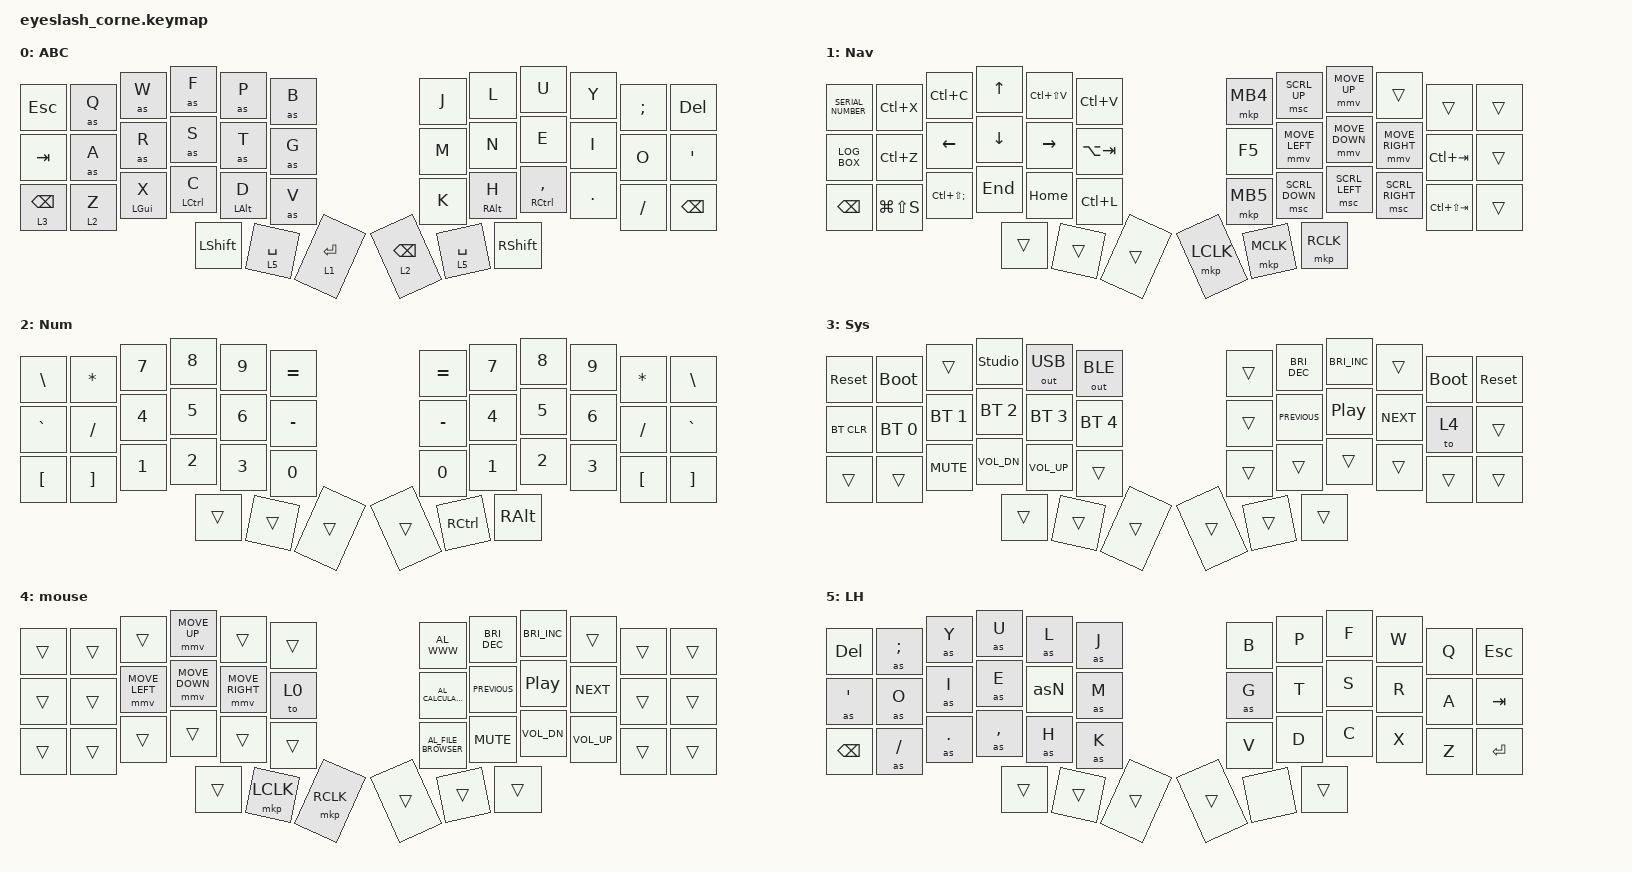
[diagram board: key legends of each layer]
/*
 * Copyright (c) 2020 The ZMK Contributors
 *
 * SPDX-License-Identifier: MIT
 */

#define ZMK_MOUSE_DEFAULT_MOVE_VAL 2250
#define U_MOUSE_MOVE_EXPONENT 3
#define U_MOUSE_MOVE_TIME 650
#define U_MOUSE_MOVE_DELAY 0

#include <behaviors.dtsi>
#include <dt-bindings/zmk/bt.h>
#include <dt-bindings/zmk/keys.h>
#include <dt-bindings/zmk/pointing.h>
#include <dt-bindings/zmk/outputs.h>

&mt {
    flavor = "tap-preferred";
    tapping-term-ms = <200>;
};

/ {
    combos {
        compatible = "zmk,combos";

        combo_1 {
            timeout-ms = <50>;
            key-positions = <1 13>;
            layers = <0>;
            bindings = <&kp N1>;
        };

        combo_2 {
            timeout-ms = <50>;
            key-positions = <2 14>;
            layers = <0>;
            bindings = <&kp N2>;
        };

        combo_3 {
            timeout-ms = <50>;
            key-positions = <3 15>;
            layers = <0>;
            bindings = <&kp N3>;
        };

        combo_4 {
            bindings = <&kp NUMBER_4>;
            key-positions = <4 16>;
            layers = <0>;
        };

        combo_5 {
            bindings = <&kp N5>;
            key-positions = <5 17>;
            layers = <0>;
        };

        combo_6 {
            bindings = <&kp NUMBER_6>;
            key-positions = <6 18>;
            layers = <0>;
        };

        combo_7 {
            bindings = <&kp N7>;
            key-positions = <7 19>;
            layers = <0>;
        };

        combo_8 {
            bindings = <&kp N8>;
            key-positions = <20 8>;
            layers = <0>;
        };

        combo_9 {
            bindings = <&kp N9>;
            key-positions = <21 9>;
            layers = <0>;
        };

        combo_0 {
            bindings = <&kp N0>;
            key-positions = <22 10>;
            layers = <0>;
        };

        //OH_1 {
        //    bindings = <&kp NUMBER_1>;
        //    key-positions = <10 22>;
        //    layers = <5>;
        //};

        //OH_2 {
        //    bindings = <&kp NUMBER_2>;
        //    key-positions = <9 21>;
        //    layers = <5>;
        //};

        //OH_3 {
        //    bindings = <&kp NUMBER_3>;
        //    key-positions = <8 20>;
        //    layers = <5>;
        //};

        //OH_4 {
        //    bindings = <&kp NUMBER_4>;
        //    key-positions = <7 19>;
        //    layers = <5>;
        //};

        //OH_5 {
        //    bindings = <&kp N5>;
        //    key-positions = <6 18>;
        //    layers = <5>;
        //};

        OH_6 {
            bindings = <&kp NUMBER_6>;
            key-positions = <5 17>;
            layers = <5>;
        };

        OH_7 {
            bindings = <&kp N7>;
            key-positions = <4 16>;
            layers = <5>;
        };

        OH_8 {
            bindings = <&kp N8>;
            key-positions = <3 15>;
            layers = <5>;
        };

        OH_9 {
            bindings = <&kp N9>;
            key-positions = <2 14>;
            layers = <5>;
        };

        OH_0 {
            bindings = <&kp N0>;
            key-positions = <1 13>;
            layers = <5>;
        };

        Combo_F1 {
            bindings = <&kp F1>;
            key-positions = <0 1>;
            layers = <0>;
        };

        combo_F2 {
            bindings = <&kp F2>;
            key-positions = <1 2>;
            layers = <0>;
        };

        combo_F3 {
            bindings = <&kp F3>;
            key-positions = <2 3>;
            layers = <0>;
        };

        combo_F4 {
            bindings = <&kp F4>;
            key-positions = <3 4>;
            layers = <0>;
        };

        combo_F5 {
            bindings = <&kp F5>;
            key-positions = <4 5>;
            layers = <0>;
        };

        //combo_F6 {
        //    bindings = <&kp F6>;
        //    key-positions = <6 7>;
        //    layers = <0>;
        //};

        //combo_F7 {
        //    bindings = <&kp F7>;
        //    key-positions = <7 8>;
        //    layers = <0>;
        //};

        //combo_F8 {
        //    bindings = <&kp F8>;
        //    key-positions = <8 9>;
        //    layers = <0>;
        //};

        //combo_F9 {
        //    bindings = <&kp F9>;
        //    key-positions = <9 10>;
        //    layers = <0>;
        //};

        //combo_F10 {
        //    bindings = <&kp F10>;
        //    key-positions = <10 11>;
        //    layers = <0>;
        //};

        //OH_F1 {
        //    bindings = <&kp F1>;
        //    key-positions = <10 11>;
        //    layers = <5>;
        //};

        //OH_F2 {
        //    bindings = <&kp F2>;
        //    key-positions = <10 9>;
        //    layers = <5>;
        //};

        //OH_F3 {
        //    bindings = <&kp F3>;
        //    key-positions = <9 8>;
        //    layers = <5>;
        //};

        //OH_F4 {
        //    bindings = <&kp F4>;
        //    key-positions = <7 8>;
        //    layers = <5>;
        //};

        //OH_F5 {
        //    bindings = <&kp F5>;
        //    key-positions = <6 7>;
        //    layers = <5>;
        //};

        OH_F6 {
            bindings = <&kp F6>;
            key-positions = <5 4>;
            layers = <5>;
        };

        OH_F7 {
            bindings = <&kp F7>;
            key-positions = <4 3>;
            layers = <5>;
        };

        OH_F8 {
            bindings = <&kp F8>;
            key-positions = <3 2>;
            layers = <5>;
        };

        OH_F9 {
            bindings = <&kp F9>;
            key-positions = <2 1>;
            layers = <5>;
        };

        OH_F10 {
            bindings = <&kp F10>;
            key-positions = <1 0>;
            layers = <5>;
        };
        
        OH_MO_2 {
            bindings = <&mo 2>;
            key-positions = <37 38>;
            layers = <0>;
        };
    };
};

/ {
    behaviors {
        //td_layer: tap_dance_layer {
        //    compatible = "zmk,behavior-tap-dance";
        //    #binding-cells = <0>;
        //    tapping-term-ms = <200>;
        //    bindings = <&kp RET>, <&mo 2>;
        //};
        //lt_td: Layer_tap_dance {
        //    compatible = "zmk,behavior-hold-tap";
        //    #binding-cells = <2>;
        //    flavor = "hold-preferred";
        //    tapping-term-ms = <200>;
        //    bindings = <&mo>, <&td_layer>;
        //    hold-trigger-key-positions = <38>;
        //};
        
        as_ht: autoshift_hold_tap{
            compatible = "zmk,behavior-hold-tap";
            label = "AUTOSHIFT_HOLD_TAP";
            flavor = "tap-preferred";
            #binding-cells = <2>;
            tapping-term-ms = <200>;
            bindings = <&shifted>, <&kp>;
        };
    };
};
           
/ {
    macros {
        LOG_BOX: LOG_BOX {
            compatible = "zmk,behavior-macro";
            #binding-cells = <0>;
            bindings =
                <&kp RA(UP_ARROW)>,
                <&macro_wait_time 200>,
                <&kp F2>,
                <&macro_wait_time 200>,
                <&kp LS(L) &kp LS(O) &kp LS(G) &kp SPACE &kp LS(B) &kp LS(O) &kp LS(X) &kp RET>;

            label = "LOG_BOX";
            wait-ms = <40>;
            tap-ms = <40>;
        };

        SERIAL_NUMBER: SERIAL_NUMBER {
            compatible = "zmk,behavior-macro";
            #binding-cells = <0>;
            bindings = 
                <&kp RA(T)>, 
                <&kp UP_ARROW>, 
                <&kp UP_ARROW>, 
                <&kp UP_ARROW>,
                <&kp UP_ARROW>, 
                <&kp RET>;
            label = "SERIAL_NUMBER";
            wait-ms = <40>;
            tap-ms = <40>;
        };
        
        shifted: macro_shifted_kp {
            #binding-cells = <1>;
            label = "MACRO_HIFTED_KP";
            compatible = "zmk,behavior-macro-one-param";
            bindings = 
                <&macro_press &kp LSHFT>,
                <&macro_param_1to1 &macro_tap &kp MACRO_PLACEHOLDER>,
                <&macro_release &kp LSHFT>;
        };
        
        as: autoshift {
          compatible = "zmk,behavior-macro-one-param";
          #binding-cells = <1>;
          label = "AUTOSHIFT_KP";
          bindings =
            <&macro_press>,
            <&macro_param_1to1>,
            <&macro_param_1to2>,
            <&as_ht MACRO_PLACEHOLDER MACRO_PLACEHOLDER>,
            <&macro_pause_for_release>,
            <&macro_release>,
            <&macro_param_1to1>,
            <&macro_param_1to2>,
            <&as_ht MACRO_PLACEHOLDER MACRO_PLACEHOLDER>;
        };
    };
};

/ {
    keymap {
        compatible = "zmk,keymap";

        default_layer {
        display-name = "ABC";
            // -----------------------------------------------------------------------------------------
            // |  ESC |  Q  |  W  |  F   |  P   |  B  |     |  J     |  L   |  U  |  Y  |  ;  | DEL  |
            // |  TAB |  A  |  R  |  S   |  T   |  G  |     |  M     |  N   |  E  |  I  |  O  |  '   |
            // | SHFT |  Z  |  X  |  C   |  D   |  V  |     |  K     |  H   |  ,  |  .  |  /  | BSPC |
            //                    | CTRL | SHFT | ENT/1 |   | BSPC/2 | SPC  | ALT |

            bindings = <
&kp ESC  &as Q  &as W       &as F           &as P        &as B             &kp J            &kp L            &kp U                    &kp Y    &kp SEMI  &kp DEL
&kp TAB  &as A  &as R       &as S           &as T        &as G             &kp M            &kp N            &kp E                    &kp I    &kp O     &kp SQT
&lt 3 BACKSPACE   &lt 2 Z  &mt LGUI X  &mt LCTRL C     &mt LALT D   &as V             &kp K            &mt RIGHT_ALT H  &mt RIGHT_CONTROL COMMA  &kp DOT  &kp FSLH  &kp BSPC
                            &kp LEFT_SHIFT  &lt 5 SPACE  &lt 1 RET        &lt 2 BACKSPACE  &lt 5 SPACE      &kp RIGHT_SHIFT
            >;
        };

        Navigate_Layer {
            display-name = "Nav";
            // -----------------------------------------------------------------------------------------
            // | ESC    | CUT   | COPY         | UP   | PASTE_NF | PASTE   |   |  6  |  7  |  8  |  9  |  0  | BSPC |
            // | ALT_TAB| UNDO  | LEFT         | DOWN | RIGHT    | ALT_TAB |   | LFT | DWN |  UP | RGT |     |      |
            // | DEL    | PRTSC | CURRENT_TIME | END  | HOME     | URL     |   |     |     |     |     |     |      |
            //                                 |      |          |         |   | ENT |     | ALT |

            bindings = <
&SERIAL_NUMBER  &kp LC(X)      &kp LC(C)         &kp UP    &kp LC(LS(V))  &kp LC(V)      &mkp MB4   &msc SCRL_UP    &mmv MOVE_UP    &trans           &trans           &trans
&LOG_BOX       &kp LC(Z)      &kp LEFT          &kp DOWN  &kp RIGHT      &kp LA(TAB)    &kp F5     &mmv MOVE_LEFT  &mmv MOVE_DOWN  &mmv MOVE_RIGHT  &kp LC(TAB)      &trans
&kp BACKSPACE  &kp LG(LS(S))  &kp LC(LS(SEMI))  &kp END   &kp HOME       &kp LC(L)      &mkp MB5   &msc SCRL_DOWN  &msc SCRL_LEFT  &msc SCRL_RIGHT  &kp LC(LS(TAB))  &trans
                                                &trans    &trans         &trans         &mkp LCLK  &mkp MCLK       &mkp RCLK
            >;
        };

        NumberPad {
            display-name = "Num";
            // -----------------------------------------------------------------------------------------
            // |  TAB |  !  |  @  |  #  |  $  |  %  |   |  ^  |  &  |  *  |  (  |  )  | BSPC |
            // | CTRL |     |     |     |     |     |   |  -  |  =  |  [  |  ]  |  \  |  `   |
            // | SHFT |     |     |     |     |     |   |  _  |  +  |  {  |  }  | "|" |  ~   |
            //                    | GUI |     | SPC |   | ENT |     | ALT |

            bindings = <
&kp BACKSLASH    &kp ASTERISK  &kp N7  &kp N8    &kp N9  &kp EQUAL                &kp EQUAL  &kp N7        &kp N8        &kp N9        &kp ASTERISK      &kp BACKSLASH
&kp GRAVE  &kp SLASH  &kp N4  &kp N5    &kp N6  &kp MINUS    &kp MINUS  &kp N4  &kp N5        &kp N6  &kp SLASH         &kp GRAVE
&kp LEFT_BRACKET  &kp RIGHT_BRACKET  &kp N1  &kp N2    &kp N3  &kp N0               &kp N0     &kp N1  &kp N2  &kp N3  &kp LEFT_BRACKET  &kp RIGHT_BRACKET
                           &trans    &trans  &trans                &trans     &kp RCTRL     &kp RALT
            >;
        };

        System {
            display-name = "Sys";
            bindings = <
&sys_reset  &bootloader   &trans        &studio_unlock       &out OUT_USB            &out OUT_BLE           &trans  &kp C_BRIGHTNESS_DEC  &kp C_BRIGHTNESS_INC  &trans      &bootloader  &sys_reset
&bt BT_CLR  &bt BT_SEL 0  &bt BT_SEL 1  &bt BT_SEL 2  &bt BT_SEL 3     &bt BT_SEL 4    &trans  &kp C_PREVIOUS        &kp C_PLAY_PAUSE      &kp C_NEXT  &to 4       &trans
&trans      &trans        &kp C_MUTE    &kp C_VOL_DN  &kp C_VOLUME_UP  &trans          &trans  &trans                &trans                &trans      &trans       &trans
                                        &trans        &trans           &trans          &trans  &trans                &trans
            >;
        };

        Media {
            display-name = "mouse";
            bindings = <
&trans  &trans  &trans  &mmv MOVE_UP  &trans  &trans    &kp C_AL_WWW           &kp C_BRIGHTNESS_DEC  &kp C_BRIGHTNESS_INC  &trans           &trans  &trans
&trans  &trans  &mmv MOVE_LEFT  &mmv MOVE_DOWN      &mmv MOVE_RIGHT      &to 0    &kp C_AL_CALCULATOR    &kp C_PREVIOUS        &kp C_PLAY_PAUSE      &kp C_NEXT       &trans  &trans
&trans  &trans  &trans  &trans               &trans                 &trans    &kp C_AL_FILE_BROWSER  &kp C_MUTE            &kp C_VOL_DN          &kp C_VOLUME_UP  &trans  &trans
                        &trans               &mkp LCLK                 &mkp RCLK    &trans                 &trans                &trans
            >;
        };

        One_handed {
            display-name = "LH";
            bindings = <
&kp DELETE     &as SEMI   &as Y       &as U      &as L   &as J     &kp B   &kp P  &kp F   &kp W  &kp Q  &kp ESC
&as SQT        &as O      &as I       &as E      &asN   &as M     &as G   &kp T  &kp S   &kp R  &kp A  &kp TAB
&kp BACKSPACE  &as SLASH  &as PERIOD  &as COMMA  &as H   &as K     &kp V   &kp D  &kp C   &kp X  &kp Z  &kp ENTER
                                      &trans     &trans  &trans    &trans  &none  &trans
            >;
        };

    };

    conditional_layers { compatible = "zmk,conditional-layers"; };
};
